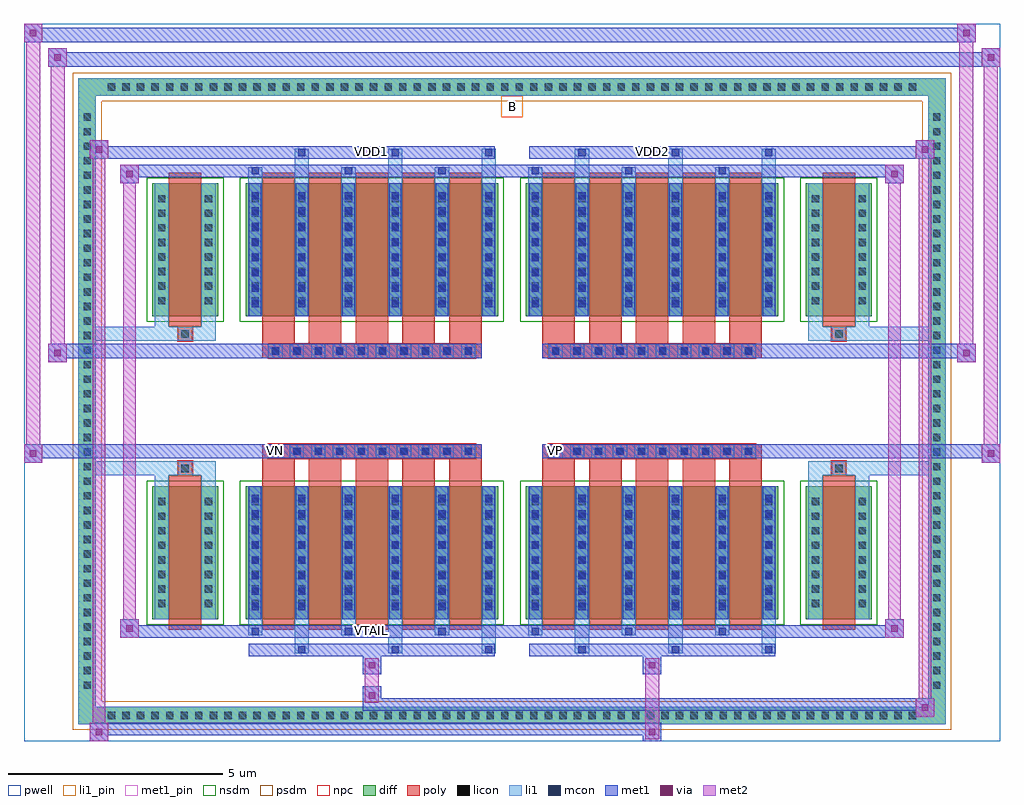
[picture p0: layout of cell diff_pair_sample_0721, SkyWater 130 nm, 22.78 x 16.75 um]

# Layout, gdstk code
import gdstk
lib = gdstk.Library(unit=1e-6, precision=5e-09)
def R(c, l, rs):  # rectangles x0, y0, x1, y1
    for r in rs: c.add(gdstk.rectangle(r[:2], r[2:], *l))
def A(c, l, x, y, w, h, nx, ny, dx, dy):  # array of equal rectangles
    R(c, l, [(x+i*dx, y+j*dy, x+i*dx+w, y+j*dy+h) for i in range(nx) for j in range(ny)])
def P(c, l, *ps):  # polygons
    for p in ps: c.add(gdstk.Polygon(p, *l))
pwell = (64, 44)
diff = (65, 20)
poly = (66, 20)
licon = (66, 44)
li1_pin = (67, 16)
li1 = (67, 20)
mcon = (67, 44)
met1_pin = (68, 16)
met1 = (68, 20)
via = (68, 44)
met2 = (69, 20)
nsdm = (93, 44)
psdm = (94, 20)
npc = (95, 20)

diff_pair_sample_0721 = lib.new_cell('diff_pair_sample_0721')
R(diff_pair_sample_0721, pwell, [(-11.39,-7.94,11.39,8.81), (-8.71,-6.13,-0.01,-0.805), (0.01,-6.13,8.71,-0.805), (-8.71,0.805,-0.01,6.13), (0.01,0.805,8.71,6.13)])
A(diff_pair_sample_0721, diff, -9.555, -7.54, 0.41, 0.41, 56, 2, 0.34, 14.67)
A(diff_pair_sample_0721, diff, -10.12, -6.835, 0.41, 0.41, 1, 40, 0, 0.34)
A(diff_pair_sample_0721, diff, 9.71, -6.835, 0.41, 0.41, 1, 40, 0, 0.34)
R(diff_pair_sample_0721, diff, [(-9.555,-7.54,9.555,-7.13), (-10.12,-6.835,-9.71,6.835), (9.71,-6.835,10.12,6.835), (-8.4,-5.085,-6.86,-1.985), (-6.22,-5.085,-0.32,-1.985), (0.32,-5.085,6.22,-1.985), (6.86,-5.085,8.4,-1.985), (-8.4,1.985,-6.86,5.085), (-6.22,1.985,-0.32,5.085), (0.32,1.985,6.22,5.085), (6.86,1.985,8.4,5.085), (-9.555,7.13,9.555,7.54)])
P(diff_pair_sample_0721, diff, [(10.12,7.54),(-10.12,7.54),(-10.12,-7.13),(-9.71,-7.13),(-9.71,7.13),(9.71,7.13),(9.71,-7.13),(-9.71,-7.13),(-10.12,-7.13),(-10.12,-7.54),(10.12,-7.54)])
A(diff_pair_sample_0721, poly, -5.83, -5.335, 0.76, 3.6, 5, 2, 1.09, 7.07)
A(diff_pair_sample_0721, poly, 0.71, -5.335, 0.76, 3.6, 5, 2, 1.09, 7.07)
A(diff_pair_sample_0721, poly, -5.83, -1.735, 0.76, 0.4, 5, 2, 1.09, 3.07)
A(diff_pair_sample_0721, poly, 0.71, -1.735, 0.76, 0.4, 5, 2, 1.09, 3.07)
A(diff_pair_sample_0721, poly, -5.685, -1.335, 0.33, 0.33, 10, 2, 0.5, 2.34)
A(diff_pair_sample_0721, poly, 0.855, -1.335, 0.33, 0.33, 10, 2, 0.5, 2.34)
R(diff_pair_sample_0721, poly, [(-8.01,-5.335,-7.25,-1.735), (7.25,-5.335,8.01,-1.735), (-7.795,-1.735,-7.465,-1.405), (-7.795,-1.735,-7.465,-1.405), (7.465,-1.735,7.795,-1.405), (7.465,-1.735,7.795,-1.405), (-5.83,-1.335,-0.71,-1.005), (0.71,-1.335,5.83,-1.005), (-5.83,1.005,-0.71,1.335), (0.71,1.005,5.83,1.335), (-7.795,1.405,-7.465,1.735), (-7.795,1.405,-7.465,1.735), (7.465,1.405,7.795,1.735), (7.465,1.405,7.795,1.735), (-8.01,1.735,-7.25,5.335), (7.25,1.735,8.01,5.335)])
A(diff_pair_sample_0721, licon, -9.435, -7.42, 0.17, 0.17, 56, 2, 0.34, 14.67)
A(diff_pair_sample_0721, licon, -10, -6.715, 0.17, 0.17, 1, 40, 0, 0.34)
A(diff_pair_sample_0721, licon, 9.83, -6.715, 0.17, 0.17, 1, 40, 0, 0.34)
A(diff_pair_sample_0721, licon, -8.26, -4.81, 0.17, 0.17, 16, 8, 1.09, 0.34)
A(diff_pair_sample_0721, licon, -5.605, -1.255, 0.17, 0.17, 10, 2, 0.5, 2.34)
A(diff_pair_sample_0721, licon, 0.935, -1.255, 0.17, 0.17, 10, 2, 0.5, 2.34)
A(diff_pair_sample_0721, licon, -8.26, 2.26, 0.17, 0.17, 16, 8, 1.09, 0.34)
R(diff_pair_sample_0721, licon, [(-7.715,-1.655,-7.545,-1.485), (7.545,-1.655,7.715,-1.485), (-7.715,1.485,-7.545,1.655), (7.545,1.485,7.715,1.655)])
R(diff_pair_sample_0721, li1_pin, [(-0.25,6.63,0.25,7.13)])
A(diff_pair_sample_0721, li1, -9.515, -7.5, 0.33, 0.33, 56, 2, 0.34, 14.67)
A(diff_pair_sample_0721, li1, -10.08, -6.795, 0.33, 0.33, 1, 40, 0, 0.34)
A(diff_pair_sample_0721, li1, 9.75, -6.795, 0.33, 0.33, 1, 40, 0, 0.34)
A(diff_pair_sample_0721, li1, -5.07, -5.89, 0.33, 0.805, 6, 2, 2.18, 10.975)
A(diff_pair_sample_0721, li1, -4.99, -5.89, 0.17, 0.17, 6, 2, 2.18, 11.61)
A(diff_pair_sample_0721, li1, -6.16, -5.46, 0.33, 0.375, 6, 2, 2.18, 10.545)
A(diff_pair_sample_0721, li1, -6.08, -5.46, 0.17, 0.17, 6, 2, 2.18, 10.75)
A(diff_pair_sample_0721, li1, -8.34, -5.085, 0.33, 3.1, 16, 2, 1.09, 7.07)
A(diff_pair_sample_0721, li1, -8.34, -4.89, 0.33, 0.33, 16, 8, 1.09, 0.34)
A(diff_pair_sample_0721, li1, -6.08, -4.88, 0.17, 0.17, 12, 8, 1.09, 0.36)
A(diff_pair_sample_0721, li1, -6.08, -4.88, 0.17, 2.69, 12, 2, 1.09, 7.07)
A(diff_pair_sample_0721, li1, -5.685, -1.335, 0.33, 0.33, 10, 2, 0.5, 2.34)
A(diff_pair_sample_0721, li1, 0.855, -1.335, 0.33, 0.33, 10, 2, 0.5, 2.34)
A(diff_pair_sample_0721, li1, -8.34, 2.18, 0.33, 0.33, 16, 8, 1.09, 0.34)
A(diff_pair_sample_0721, li1, -6.08, 2.19, 0.17, 0.17, 12, 8, 1.09, 0.36)
R(diff_pair_sample_0721, li1, [(-10.12,-7.54,-9.71,-7.13), (-10.12,-7.54,-9.71,-7.13), (-9.71,-7.54,9.71,-7.13), (9.71,-7.54,10.12,-7.13), (9.71,-7.54,10.12,-7.13), (-10.12,-7.13,-9.71,7.13), (9.71,-7.13,10.12,7.13), (-8.34,-1.985,-8.01,-1.405), (-7.25,-1.985,-6.92,-1.405), (6.92,-1.985,7.25,-1.405), (8.01,-1.985,8.34,-1.405), (-10.12,-1.735,-7.795,-1.405), (-8.34,-1.735,-7.795,-1.405), (-7.795,-1.735,-7.465,-1.405), (-7.465,-1.735,-6.92,-1.405), (6.92,-1.735,7.465,-1.405), (7.465,-1.735,7.795,-1.405), (7.465,-1.735,10.12,-1.405), (7.795,-1.735,8.34,-1.405), (-10.12,1.405,-7.795,1.735), (-8.34,1.405,-7.795,1.735), (-8.34,1.405,-8.01,1.985), (-7.795,1.405,-7.465,1.735), (-7.465,1.405,-6.92,1.735), (-7.25,1.405,-6.92,1.985), (6.92,1.405,7.465,1.735), (6.92,1.405,7.25,1.985), (7.465,1.405,7.795,1.735), (7.465,1.405,10.12,1.735), (7.795,1.405,8.34,1.735), (8.01,1.405,8.34,1.985), (-10.12,7.13,-9.71,7.54), (-10.12,7.13,-9.71,7.54), (-9.71,7.13,9.71,7.54), (9.71,7.13,10.12,7.54), (9.71,7.13,10.12,7.54)])
A(diff_pair_sample_0721, mcon, -4.99, -5.89, 0.17, 0.17, 6, 2, 2.18, 11.61)
A(diff_pair_sample_0721, mcon, -6.08, -5.46, 0.17, 0.17, 6, 2, 2.18, 10.75)
A(diff_pair_sample_0721, mcon, -6.08, -4.88, 0.17, 0.17, 12, 8, 1.09, 0.36)
A(diff_pair_sample_0721, mcon, -5.605, -1.255, 0.17, 0.17, 10, 2, 0.5, 2.34)
A(diff_pair_sample_0721, mcon, 0.935, -1.255, 0.17, 0.17, 10, 2, 0.5, 2.34)
A(diff_pair_sample_0721, mcon, -6.08, 2.19, 0.17, 0.17, 12, 8, 1.09, 0.36)
R(diff_pair_sample_0721, met1_pin, [(-3.405,-5.5,-3.135,-5.23), (-5.655,-1.295,-5.385,-1.025), (0.885,-1.295,1.155,-1.025), (-3.405,5.68,-3.135,5.95), (3.135,5.68,3.405,5.95)])
A(diff_pair_sample_0721, met1, -5.05, -5.95, 0.29, 0.29, 6, 2, 2.18, 11.61)
A(diff_pair_sample_0721, met1, -6.14, -5.52, 0.29, 0.29, 6, 2, 2.18, 10.75)
A(diff_pair_sample_0721, met1, -6.14, -5.085, 0.29, 3.1, 12, 2, 1.09, 7.07)
A(diff_pair_sample_0721, met1, -6.14, -4.94, 0.29, 0.29, 12, 8, 1.09, 0.36)
A(diff_pair_sample_0721, met1, -5.665, -1.315, 0.29, 0.29, 10, 2, 0.5, 2.34)
A(diff_pair_sample_0721, met1, 0.875, -1.315, 0.29, 0.29, 10, 2, 0.5, 2.34)
A(diff_pair_sample_0721, met1, -6.14, 2.13, 0.29, 0.29, 12, 8, 1.09, 0.36)
R(diff_pair_sample_0721, met1, [(-9.85,-7.94,-9.42,-7.51), (3.055,-7.94,3.485,-7.51), (-9.85,-7.8,3.485,-7.51), (9.42,-7.37,9.85,-6.94), (-3.485,-7.23,9.85,-6.94), (-3.485,-7.09,-3.055,-6.66), (-3.485,-6.38,-3.055,-5.95), (3.055,-6.38,3.485,-5.95), (-6.14,-5.95,-0.4,-5.66), (0.4,-5.95,6.14,-5.66), (-9.14,-5.52,-8.71,-5.09), (-9.14,-5.52,-6.14,-5.23), (-6.14,-5.52,-0.4,-5.23), (-0.4,-5.52,0.4,-5.23), (0.4,-5.52,6.14,-5.23), (6.14,-5.52,9.14,-5.23), (8.71,-5.52,9.14,-5.09), (-11.39,-1.435,-10.96,-1.005), (10.96,-1.435,11.39,-1.005), (-11.39,-1.335,-0.71,-1.005), (-5.83,-1.335,-0.71,-1.005), (0.71,-1.335,5.83,-1.005), (0.71,-1.335,11.39,-1.005), (-10.82,0.905,-10.39,1.335), (10.39,0.905,10.82,1.335), (-10.82,1.005,-5.83,1.335), (-5.83,1.005,-0.71,1.335), (0.71,1.005,5.83,1.335), (5.83,1.005,10.82,1.335), (-9.14,5.09,-8.71,5.52), (8.71,5.09,9.14,5.52), (-9.14,5.23,-6.14,5.52), (-6.14,5.23,-0.4,5.52), (-0.4,5.23,0.4,5.52), (0.4,5.23,6.14,5.52), (6.14,5.23,9.14,5.52), (-9.85,5.66,-9.42,6.09), (-9.85,5.66,-6.14,5.95), (-6.14,5.66,-0.4,5.95), (0.4,5.66,6.14,5.95), (6.14,5.66,9.85,5.95), (9.42,5.66,9.85,6.09), (-10.82,7.81,-10.39,8.24), (-10.82,7.81,-8.71,8.14), (-8.71,7.81,8.71,8.14), (8.71,7.81,11.39,8.14), (10.96,7.81,11.39,8.24), (-11.39,8.38,-10.96,8.81), (-11.39,8.38,-8.71,8.71), (-8.71,8.38,8.71,8.71), (8.71,8.38,10.82,8.71), (10.39,8.38,10.82,8.81)])
R(diff_pair_sample_0721, via, [(-9.71,-7.8,-9.56,-7.65), (3.195,-7.8,3.345,-7.65), (9.56,-7.23,9.71,-7.08), (-3.345,-6.95,-3.195,-6.8), (-3.345,-6.24,-3.195,-6.09), (3.195,-6.24,3.345,-6.09), (-9,-5.38,-8.85,-5.23), (8.85,-5.38,9,-5.23), (-11.25,-1.295,-11.1,-1.145), (11.1,-1.295,11.25,-1.145), (-10.68,1.045,-10.53,1.195), (10.53,1.045,10.68,1.195), (-9,5.23,-8.85,5.38), (8.85,5.23,9,5.38), (-9.71,5.8,-9.56,5.95), (9.56,5.8,9.71,5.95), (-10.68,7.95,-10.53,8.1), (11.1,7.95,11.25,8.1), (-11.25,8.52,-11.1,8.67), (10.53,8.52,10.68,8.67)])
R(diff_pair_sample_0721, met2, [(-9.85,-7.94,-9.42,-7.51), (-9.78,-7.94,-9.49,6.09), (-9.49,-7.94,-9.42,-7.51), (-9.8,-7.89,-9.47,-7.56), (3.105,-7.89,3.435,-7.56), (3.105,-7.56,3.435,-6.33), (9.42,-7.37,9.85,-6.94), (9.49,-7.37,9.78,6.09), (9.78,-7.37,9.85,-6.94), (9.47,-7.32,9.8,-6.99), (-3.435,-7.04,-3.105,-6.71), (-3.435,-6.71,-3.105,-6.33), (-3.435,-6.33,-3.105,-6), (3.105,-6.33,3.435,-6), (-9.14,-5.52,-8.71,-5.09), (-9.07,-5.52,-8.78,5.52), (-8.78,-5.52,-8.71,-5.09), (8.71,-5.52,9.14,-5.09), (8.78,-5.52,9.07,5.52), (9.07,-5.52,9.14,-5.09), (-9.09,-5.47,-8.76,-5.14), (8.76,-5.47,9.09,-5.14), (-11.39,-1.435,-10.96,-1.005), (-11.34,-1.435,-11.01,8.81), (-11.01,-1.435,-10.96,-1.005), (10.96,-1.435,11.39,-1.005), (11.01,-1.435,11.34,8.24), (11.34,-1.435,11.39,-1.005), (-11.34,-1.385,-11.01,-1.055), (11.01,-1.385,11.34,-1.055), (-10.82,0.905,-10.39,1.335), (-10.77,0.905,-10.44,8.24), (-10.44,0.905,-10.39,1.335), (10.39,0.905,10.82,1.335), (10.44,0.905,10.77,8.81), (10.77,0.905,10.82,1.335), (-10.77,0.955,-10.44,1.285), (10.44,0.955,10.77,1.285), (-9.14,5.09,-8.71,5.52), (-8.78,5.09,-8.71,5.52), (8.71,5.09,9.14,5.52), (9.07,5.09,9.14,5.52), (-9.09,5.14,-8.76,5.47), (8.76,5.14,9.09,5.47), (-9.85,5.66,-9.42,6.09), (-9.49,5.66,-9.42,6.09), (9.42,5.66,9.85,6.09), (9.78,5.66,9.85,6.09), (-9.8,5.71,-9.47,6.04), (9.47,5.71,9.8,6.04), (-10.82,7.81,-10.39,8.24), (-10.44,7.81,-10.39,8.24), (10.96,7.81,11.39,8.24), (11.34,7.81,11.39,8.24), (-10.77,7.86,-10.44,8.19), (11.01,7.86,11.34,8.19), (-11.39,8.38,-10.96,8.81), (-11.01,8.38,-10.96,8.81), (10.39,8.38,10.82,8.81), (10.77,8.38,10.82,8.81), (-11.34,8.43,-11.01,8.76), (10.44,8.43,10.77,8.76)])
R(diff_pair_sample_0721, nsdm, [(-8.53,-5.215,-6.73,-1.855), (-6.35,-5.215,-0.19,-1.855), (0.19,-5.215,6.35,-1.855), (6.73,-5.215,8.53,-1.855), (-8.53,1.855,-6.73,5.215), (-6.35,1.855,-0.19,5.215), (0.19,1.855,6.35,5.215), (6.73,1.855,8.53,5.215)])
P(diff_pair_sample_0721, psdm, [(10.25,7.67),(-10.25,7.67),(-10.25,-7),(-9.58,-7),(-9.58,7),(9.58,7),(9.58,-7),(-9.58,-7),(-10.25,-7),(-10.25,-7.67),(10.25,-7.67)])
A(diff_pair_sample_0721, npc, -5.705, -1.355, 0.37, 0.37, 10, 2, 0.5, 2.34)
A(diff_pair_sample_0721, npc, 0.835, -1.355, 0.37, 0.37, 10, 2, 0.5, 2.34)
R(diff_pair_sample_0721, npc, [(-7.815,-1.755,-7.445,-1.385), (7.445,-1.755,7.815,-1.385), (-5.705,-1.355,-4.835,-0.985), (-5.705,-1.355,-4.835,-0.985), (-5.205,-1.355,-4.335,-0.985), (-5.205,-1.355,-4.335,-0.985), (-4.705,-1.355,-3.835,-0.985), (-4.705,-1.355,-3.835,-0.985), (-4.205,-1.355,-3.335,-0.985), (-4.205,-1.355,-3.335,-0.985), (-3.705,-1.355,-2.835,-0.985), (-3.705,-1.355,-2.835,-0.985), (-3.205,-1.355,-2.335,-0.985), (-3.205,-1.355,-2.335,-0.985), (-2.705,-1.355,-1.835,-0.985), (-2.705,-1.355,-1.835,-0.985), (-2.205,-1.355,-1.335,-0.985), (-2.205,-1.355,-1.335,-0.985), (-1.705,-1.355,-0.835,-0.985), (-1.705,-1.355,-0.835,-0.985), (0.835,-1.355,1.705,-0.985), (0.835,-1.355,1.705,-0.985), (1.335,-1.355,2.205,-0.985), (1.335,-1.355,2.205,-0.985), (1.835,-1.355,2.705,-0.985), (1.835,-1.355,2.705,-0.985), (2.335,-1.355,3.205,-0.985), (2.335,-1.355,3.205,-0.985), (2.835,-1.355,3.705,-0.985), (2.835,-1.355,3.705,-0.985), (3.335,-1.355,4.205,-0.985), (3.335,-1.355,4.205,-0.985), (3.835,-1.355,4.705,-0.985), (3.835,-1.355,4.705,-0.985), (4.335,-1.355,5.205,-0.985), (4.335,-1.355,5.205,-0.985), (4.835,-1.355,5.705,-0.985), (4.835,-1.355,5.705,-0.985), (-5.705,0.985,-4.835,1.355), (-5.705,0.985,-4.835,1.355), (-5.205,0.985,-4.335,1.355), (-5.205,0.985,-4.335,1.355), (-4.705,0.985,-3.835,1.355), (-4.705,0.985,-3.835,1.355), (-4.205,0.985,-3.335,1.355), (-4.205,0.985,-3.335,1.355), (-3.705,0.985,-2.835,1.355), (-3.705,0.985,-2.835,1.355), (-3.205,0.985,-2.335,1.355), (-3.205,0.985,-2.335,1.355), (-2.705,0.985,-1.835,1.355), (-2.705,0.985,-1.835,1.355), (-2.205,0.985,-1.335,1.355), (-2.205,0.985,-1.335,1.355), (-1.705,0.985,-0.835,1.355), (-1.705,0.985,-0.835,1.355), (0.835,0.985,1.705,1.355), (0.835,0.985,1.705,1.355), (1.335,0.985,2.205,1.355), (1.335,0.985,2.205,1.355), (1.835,0.985,2.705,1.355), (1.835,0.985,2.705,1.355), (2.335,0.985,3.205,1.355), (2.335,0.985,3.205,1.355), (2.835,0.985,3.705,1.355), (2.835,0.985,3.705,1.355), (3.335,0.985,4.205,1.355), (3.335,0.985,4.205,1.355), (3.835,0.985,4.705,1.355), (3.835,0.985,4.705,1.355), (4.335,0.985,5.205,1.355), (4.335,0.985,5.205,1.355), (4.835,0.985,5.705,1.355), (4.835,0.985,5.705,1.355), (-7.815,1.385,-7.445,1.755), (7.445,1.385,7.815,1.755)])
diff_pair_sample_0721.add(gdstk.Label('VTAIL', (-3.27,-5.365), layer=68, texttype=5))
diff_pair_sample_0721.add(gdstk.Label('VN', (-5.52,-1.16), layer=68, texttype=5))
diff_pair_sample_0721.add(gdstk.Label('VP', (1.02,-1.16), layer=68, texttype=5))
diff_pair_sample_0721.add(gdstk.Label('B', (0,6.88), layer=67, texttype=5))
diff_pair_sample_0721.add(gdstk.Label('VDD2', (3.27,5.815), layer=68, texttype=5))
diff_pair_sample_0721.add(gdstk.Label('VDD1', (-3.27,5.815), layer=68, texttype=5))

lib.write_gds('diff_pair_sample_0721.gds')
